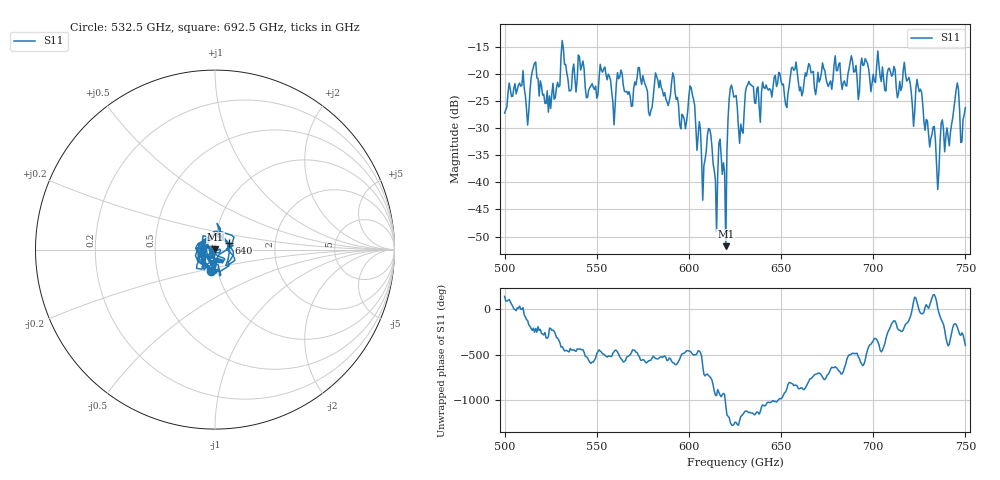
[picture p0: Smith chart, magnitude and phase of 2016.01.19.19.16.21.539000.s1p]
!Created with skrf (http://scikit-rf.org).
# GHz S RI R 50.0
!freq ReS11 ImS11
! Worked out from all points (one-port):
!   401 points, 500 GHz to 750 GHz, reference 50 ohm
!   lowest |S11| = -51.8 dB at 620 GHz (marker M1), VSWR 1.01, Z = 50.2 + j0.0683 ohm
!   |S11| at or under -10 dB: start of sweep to end of sweep
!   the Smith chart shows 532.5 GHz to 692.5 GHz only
!   S11 on the Smith chart (normalised r, x): 532.5 GHz: 0.93, -0.23; 640 GHz: 1.16, +0.08; 692.5 GHz: 0.87, +0.00
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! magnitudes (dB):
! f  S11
! 500 GHz  -27.3
! 508.8 GHz  -22.3
! 512.5 GHz  -29.5
! 515.6 GHz  -18.7
! 523.8 GHz  -27.1
! 531.2 GHz  -13.9
! 532.5 GHz  -18.3
! 559.4 GHz  -29.4
! 562.5 GHz  -20.6
! 593.8 GHz  -24.4
! 601.2 GHz  -22.6
! 608.1 GHz  -36.9
! 611.2 GHz  -30.2
! 614.4 GHz  -39.6
! 620 GHz  -51.8
! 622.5 GHz  -22.6
! 625 GHz  -24.2
! 628.1 GHz  -29.3
! 631.9 GHz  -22.1
! 640 GHz  -21.5
! 656.2 GHz  -18.8
! 687.5 GHz  -17.8
! 692.5 GHz  -23.4
! 718.8 GHz  -21.1
! 725 GHz  -23.3
! 735 GHz  -41.3
! 745 GHz  -22.9
! 750 GHz  -26.2
